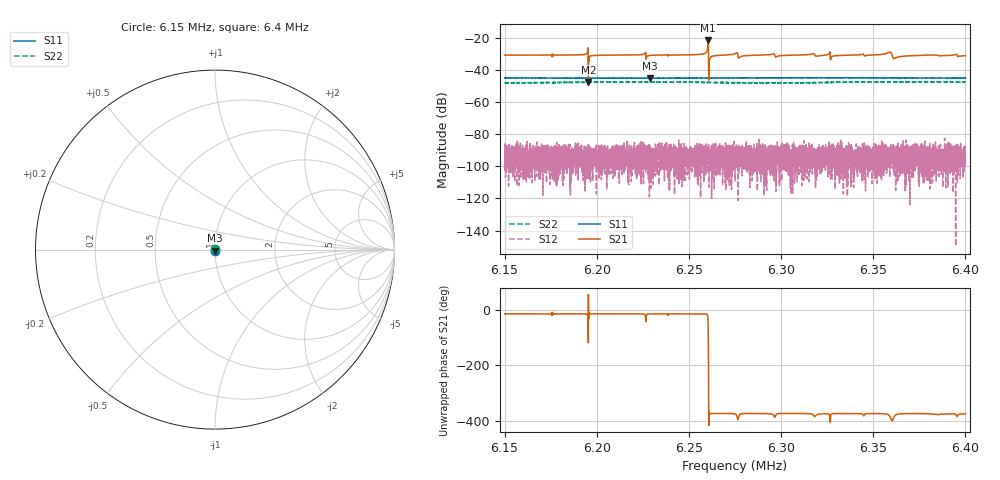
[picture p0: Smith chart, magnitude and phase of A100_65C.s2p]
!CETC41,AV3656A,ZGL00048,1.3.2
!Calibration ON (Full Solt 2-Port(Omit Isolation))
!Measurements: S11 S21 S12 S22
!2025-04-23 00:35
# Hz  S  dB  R 50.000
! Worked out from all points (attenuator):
!   6401 points, 6.15 MHz to 6.4 MHz, reference 50 ohm
!   highest |S21| = -21.68 dB at 6.2605 MHz (marker M1); lowest = -47.6 dB at 6.1955 MHz (marker M2)
!   lowest |S11| = -45.2 dB at 6.2289 MHz (marker M3), VSWR 1.01, Z = 50 - j0.547 ohm
!   |S11| at or under -10 dB: start of sweep to end of sweep
!   |S22| runs from -48.2 to -47.4 dB; largest |S21 - S12| = 0.082
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6150000  -44.94 -89.6  -30.80 -13.8  -92.89 -92.7  -48.04 114.8
6191680  -45.17 -88.5  -30.56 -13.9  -101.17 -115.7  -47.80 115.6
6194141  -45.16 -88.2  -30.09 -14.1  -92.12 -144.2  -47.73 115.6
6195469  -45.18 -88.6  -47.59 56.0  -100.26 -69.2  -47.69 115.3
6196680  -45.08 -88.7  -31.35 -14.0  -96.60 -57.9  -47.72 115.6
6228867  -45.24 -88.4  -31.00 -14.0  -108.36 177.3  -47.57 114.8
6233359  -45.12 -88.6  -30.81 -14.1  -90.49 109.6  -47.60 114.5
6256016  -45.05 -88.7  -30.34 -14.1  -105.58 171.1  -47.71 113.5
6259375  -45.07 -88.8  -29.15 -14.6  -102.29 99.0  -47.76 114.0
6260469  -45.05 -88.6  -21.68 -70.3  -96.07 68.6  -47.77 114.2
6261914  -45.05 -88.3  -32.00 -14.4  -95.57 83.4  -47.85 113.6
6263711  -45.04 -88.4  -31.25 -14.2  -96.52 -9.7  -47.77 113.7
6275000  -45.00 -87.9  -29.96 -15.8  -96.05 -160.1  -47.89 113.6
6277891  -44.98 -88.3  -31.88 -15.9  -87.12 -152.4  -47.99 113.0
6316680  -44.85 -87.8  -30.08 -15.9  -96.22 153.2  -47.96 113.1
6319766  -44.91 -87.8  -31.35 -17.4  -88.41 -167.7  -47.89 113.2
6325391  -44.91 -88.0  -30.41 -14.8  -94.51 44.4  -47.78 113.9
6327969  -44.94 -87.9  -31.54 -15.0  -96.39 178.2  -47.79 113.8
6358359  -44.95 -88.0  -29.21 -19.4  -95.02 178.4  -47.51 114.4
6361797  -44.98 -88.1  -32.74 -21.5  -93.49 178.1  -47.43 113.8
6380352  -45.07 -87.4  -30.77 -15.2  -94.39 134.9  -47.50 114.3
6400000  -45.07 -86.6  -31.16 -15.4  -92.87 -39.3  -47.55 114.4
